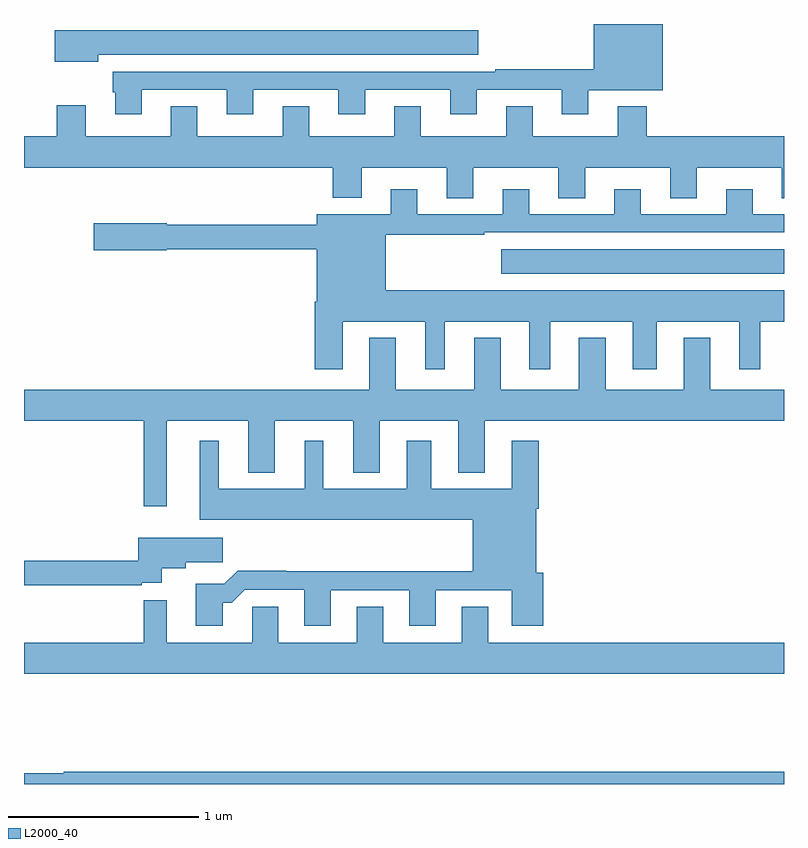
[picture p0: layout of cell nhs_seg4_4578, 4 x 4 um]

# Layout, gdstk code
import gdstk
lib = gdstk.Library(unit=1e-6, precision=1e-09)
def R(c, l, rs):  # rectangles x0, y0, x1, y1
    for r in rs: c.add(gdstk.rectangle(r[:2], r[2:], *l))
def P(c, l, *ps):  # polygons
    for p in ps: c.add(gdstk.Polygon(p, *l))
L2000_40 = (2000, 40)

nhs_seg4_4578 = lib.new_cell('nhs_seg4_4578')
R(nhs_seg4_4578, L2000_40, [(359.511,805.586,361,805.714)])
P(nhs_seg4_4578, L2000_40, [(357.619,806.553),(358.067,806.553),(358.067,806.424),(358.207,806.424),(358.207,806.553),(358.655,806.553),(358.655,806.424),(358.795,806.424),(358.795,806.553),(359.243,806.553),(359.243,806.424),(359.383,806.424),(359.383,806.553),(359.831,806.553),(359.831,806.424),(359.971,806.424),(359.971,806.552),(360.361,806.552),(360.361,806.9),(359.999,806.9),(359.999,806.662),(359.479,806.662),(359.479,806.649),(357.467,806.649),(357.467,806.541),(357.479,806.541),(357.479,806.424),(357.619,806.424)],
  [(357.391,806.738),(359.392,806.738),(359.392,806.866),(357.162,806.866),(357.162,806.702),(357.391,806.702)],
  [(360.125,806.467),(360.125,806.308),(359.677,806.308),(359.677,806.468),(359.537,806.468),(359.537,806.308),(359.089,806.308),(359.089,806.468),(358.949,806.468),(358.949,806.308),(358.501,806.308),(358.501,806.468),(358.361,806.468),(358.361,806.308),(357.913,806.308),(357.913,806.468),(357.773,806.468),(357.773,806.308),(357.325,806.308),(357.325,806.473),(357.173,806.473),(357.173,806.308),(357,806.308),(357,806.144),(358.625,806.144),(358.625,805.985),(358.777,805.985),(358.777,806.144),(359.225,806.144),(359.225,805.984),(359.365,805.984),(359.365,806.144),(359.813,806.144),(359.813,805.984),(359.953,805.984),(359.953,806.144),(360.401,806.144),(360.401,805.984),(360.541,805.984),(360.541,806.144),(360.989,806.144),(360.989,805.984),(361,805.984),(361,806.308),(360.278,806.308),(360.278,806.467)],
  [(358.678,805.334),(359.111,805.334),(359.111,805.083),(359.215,805.083),(359.215,805.334),(359.66,805.334),(359.66,805.083),(359.77,805.083),(359.77,805.334),(360.203,805.334),(360.203,805.083),(360.331,805.083),(360.331,805.334),(360.764,805.334),(360.764,805.083),(360.874,805.083),(360.874,805.334),(361,805.334),(361,805.498),(358.903,805.498),(358.903,805.791),(359.423,805.791),(359.423,805.803),(361,805.803),(361,805.899),(360.835,805.899),(360.835,806.029),(360.695,806.029),(360.695,805.899),(360.247,805.899),(360.247,806.029),(360.107,806.029),(360.107,805.899),(359.659,805.899),(359.659,806.029),(359.519,806.029),(359.519,805.899),(359.071,805.899),(359.071,806.029),(358.931,806.029),(358.931,805.9),(358.541,805.9),(358.541,805.843),(357.75,805.843),(357.75,805.851),(357.366,805.851),(357.366,805.709),(357.75,805.709),(357.75,805.714),(358.541,805.714),(358.541,805.438),(358.529,805.438),(358.529,805.083),(358.678,805.083)],
  [(357,804.812),(357.63,804.812),(357.63,804.363),(357.751,804.363),(357.751,804.812),(358.181,804.812),(358.181,804.539),(358.321,804.539),(358.321,804.812),(358.733,804.812),(358.733,804.539),(358.873,804.539),(358.873,804.812),(359.285,804.812),(359.285,804.539),(359.425,804.539),(359.425,804.812),(361,804.812),(361,804.976),(360.613,804.976),(360.613,805.249),(360.473,805.249),(360.473,804.976),(360.061,804.976),(360.061,805.249),(359.921,805.249),(359.921,804.976),(359.509,804.976),(359.509,805.249),(359.369,805.249),(359.369,804.976),(358.957,804.976),(358.957,805.249),(358.817,805.249),(358.817,804.976),(357,804.976)],
  [(358.045,803.855),(358.094,803.855),(358.161,803.922),(358.475,803.922),(358.475,803.733),(358.615,803.733),(358.615,803.919),(359.027,803.919),(359.027,803.733),(359.167,803.733),(359.167,803.919),(359.567,803.919),(359.567,803.733),(359.732,803.733),(359.732,804.012),(359.695,804.012),(359.695,804.35),(359.708,804.35),(359.708,804.706),(359.567,804.706),(359.567,804.454),(359.143,804.454),(359.143,804.706),(359.015,804.706),(359.015,804.454),(358.576,804.454),(358.576,804.706),(358.478,804.706),(358.478,804.454),(358.024,804.454),(358.024,804.706),(357.926,804.706),(357.926,804.29),(359.363,804.29),(359.363,804.02),(358.379,804.02),(358.379,804.023),(358.124,804.023),(358.054,803.953),(357.905,803.953),(357.905,803.733),(358.045,803.733)],
  [(357.62,803.958),(357.724,803.958),(357.724,804.035),(357.85,804.035),(357.85,804.067),(358.045,804.067),(358.045,804.196),(357.602,804.196),(357.602,804.074),(357,804.074),(357,803.946),(357.62,803.946)],
  [(361,803.644),(359.443,803.644),(359.443,803.834),(359.303,803.834),(359.303,803.644),(358.891,803.644),(358.891,803.834),(358.751,803.834),(358.751,803.644),(358.339,803.644),(358.339,803.834),(358.2,803.834),(358.2,803.644),(357.751,803.644),(357.751,803.866),(357.63,803.866),(357.63,803.644),(357,803.644),(357,803.48),(361,803.48)],
  [(361,802.964),(357.209,802.964),(357.209,802.957),(357,802.957),(357,802.9),(361,802.9)])

lib.write_gds('nhs_seg4_4578.gds')
